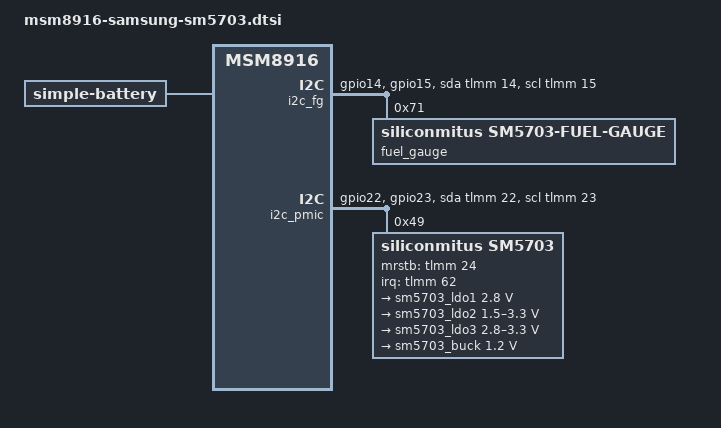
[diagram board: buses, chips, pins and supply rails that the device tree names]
// SPDX-License-Identifier: GPL-2.0-only

/*
 * Common definitions for Samsung devices with the SM5703 PMIC (charger,
 * regulators) and fuel gauge. The GPIOs vary depending on the device.
 */

#include <dt-bindings/gpio/gpio.h>
#include <dt-bindings/interrupt-controller/irq.h>

/ {
	battery: battery {
		compatible = "simple-battery";
		voltage-min-design-microvolt = <3400000>;
		charge-term-current-microamp = <200000>;

		/* Varies depending on the device */
		voltage-max-design-microvolt = <4350000>;
		constant-charge-voltage-max-microvolt = <4350000>;
		constant-charge-current-max-microamp = <1500000>;
	};

	i2c_fg: i2c-fg {
		compatible = "i2c-gpio";
		sda-gpios = <&tlmm 14 (GPIO_ACTIVE_HIGH|GPIO_OPEN_DRAIN)>;
		scl-gpios = <&tlmm 15 (GPIO_ACTIVE_HIGH|GPIO_OPEN_DRAIN)>;

		pinctrl-0 = <&fg_i2c_default>;
		pinctrl-names = "default";

		#address-cells = <1>;
		#size-cells = <0>;

		fuel_gauge: fuel-gauge@71 {
			compatible = "siliconmitus,sm5703-fuel-gauge";
			reg = <0x71>;

			monitored-battery = <&battery>;
			power-supplies = <&charger>;
		};
	};

	i2c_pmic: i2c-pmic {
		compatible = "i2c-gpio";
		sda-gpios = <&tlmm 22 (GPIO_ACTIVE_HIGH|GPIO_OPEN_DRAIN)>;
		scl-gpios = <&tlmm 23 (GPIO_ACTIVE_HIGH|GPIO_OPEN_DRAIN)>;

		pinctrl-0 = <&pmic_i2c_default>;
		pinctrl-names = "default";

		#address-cells = <1>;
		#size-cells = <0>;

		sm5703: pmic@49 {
			compatible = "siliconmitus,sm5703";
			reg = <0x49>;

			interrupt-parent = <&tlmm>;
			interrupts = <62 IRQ_TYPE_EDGE_FALLING>;

			mrstb-gpios = <&tlmm 24 GPIO_ACTIVE_HIGH>;

			pinctrl-0 = <&pmic_int_default &pmic_mrstb_default>;
			pinctrl-names = "default";

			regulators {
				sm5703_usbldo1: usbldo1 {
					regulator-always-on;
				};

				sm5703_usbldo2: usbldo2 {
				};

				sm5703_ldo1: ldo1 {
					regulator-min-microvolt = <2800000>;
					regulator-max-microvolt = <2800000>;
				};

				sm5703_ldo2: ldo2 {
					regulator-min-microvolt = <1500000>;
					regulator-max-microvolt = <3300000>;
				};

				sm5703_ldo3: ldo3 {
					regulator-min-microvolt = <2800000>;
					regulator-max-microvolt = <3300000>;
				};

				sm5703_buck: buck {
					regulator-min-microvolt = <1200000>;
					regulator-max-microvolt = <1200000>;
				};

				sm5703_vbus: vbus {
				};
			};

			charger: charger {
				compatible = "siliconmitus,sm5703-charger";
				monitored-battery = <&battery>;
				extcon = <&muic>;

				enable-gpios = <&tlmm 51 GPIO_ACTIVE_LOW>;

				pinctrl-0 = <&chg_en_default>;
				pinctrl-names = "default";
			};
		};
	};
};

&tlmm {
	chg_en_default: chg-en-default-state {
		pins = "gpio51";
		function = "gpio";
		drive-strength = <2>;
		bias-disable;
	};

	fg_i2c_default: fg-i2c-default-state {
		pins = "gpio14", "gpio15";
		function = "gpio";
		drive-strength = <2>;
		bias-disable;
	};

	pmic_i2c_default: pmic-i2c-default-state {
		pins = "gpio22", "gpio23";
		function = "gpio";
		drive-strength = <2>;
		bias-disable;
	};

	pmic_int_default: pmic-int-default-state {
		pins = "gpio62";
		function = "gpio";
		drive-strength = <2>;
		bias-disable;
	};

	pmic_mrstb_default: pmic-mrstb-default-state {
		pins = "gpio24";
		function = "gpio";
		drive-strength = <2>;
		bias-disable;
	};
};
